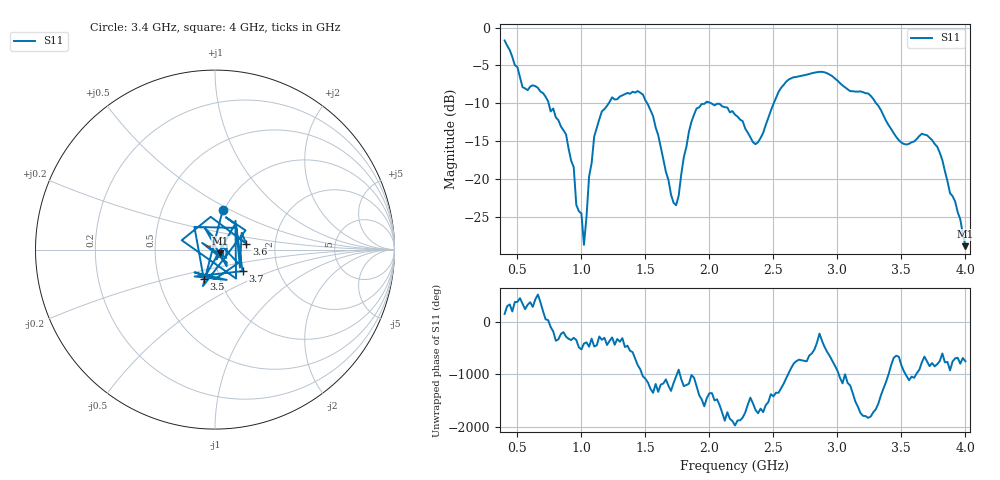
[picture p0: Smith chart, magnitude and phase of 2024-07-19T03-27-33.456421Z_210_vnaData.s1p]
!Created with skrf (http://scikit-rf.org).
# Hz S RI R 50.0
!freq ReS11 ImS11
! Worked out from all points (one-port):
!   181 points, 400 MHz to 4 GHz, reference 50 ohm
!   lowest |S11| = -28.8 dB at 4 GHz (marker M1), VSWR 1.08, Z = 53.1 - j2.15 ohm
!   |S11| at or under -10 dB: 743.9 MHz to 1.213 GHz (469 MHz wide, 47.9 % of centre); 2.014 GHz to 2.502 GHz (487.9 MHz wide, 21.6 % of centre); 3.303 GHz to end of sweep (the widest 3 of 4)
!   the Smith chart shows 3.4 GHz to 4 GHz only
!   S11 on the Smith chart (normalised r, x): 3.4 GHz: 0.98, +0.46; 3.5 GHz: 0.84, -0.28; 3.6 GHz: 1.42, +0.10; 3.7 GHz: 1.32, -0.33; 4 GHz: 1.06, -0.04
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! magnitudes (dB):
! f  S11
! 400 MHz  -1.7
! 540 MHz  -7.9
! 700 MHz  -8.6
! 860 MHz  -13.6
! 940 MHz  -18.4
! 960 MHz  -23.4
! 1 GHz  -24.5
! 1.02 GHz  -28.6
! 1.06 GHz  -19.7
! 1.1 GHz  -14.4
! 1.3 GHz  -9.1
! 1.48 GHz  -8.8
! 1.56 GHz  -11.7
! 1.72 GHz  -23.1
! 1.76 GHz  -22.2
! 1.84 GHz  -13.7
! 1.9 GHz  -10.7
! 2.2 GHz  -11.5
! 2.36 GHz  -15.4
! 2.66 GHz  -6.6
! 3.1 GHz  -8.4
! 3.4 GHz  -12.9
! 3.5 GHz  -15.2
! 3.56 GHz  -15.3
! 3.6 GHz  -15.0
! 3.7 GHz  -14.2
! 3.8 GHz  -16.5
! 4 GHz  -28.8
